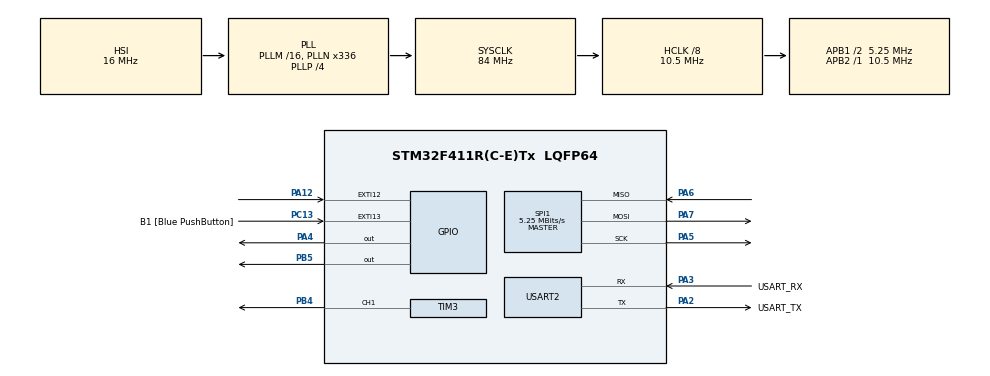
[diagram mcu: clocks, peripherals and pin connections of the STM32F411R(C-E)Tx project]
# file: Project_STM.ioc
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Mcu.Family=STM32F4
Mcu.Name=STM32F411R(C-E)Tx
Mcu.Package=LQFP64
NVIC.PriorityGroup=NVIC_PRIORITYGROUP_0
NVIC.TIM3_IRQn=true\:0\:0\:false\:false\:true\:true\:true\:true
PA12.Signal=GPXTI12
PA13.GPIO_Label=TMS
PA13.Mode=Serial_Wire
PA13.Signal=SYS_JTMS-SWDIO
PA14.GPIO_Label=TCK
PA14.Mode=Serial_Wire
PA14.Signal=SYS_JTCK-SWCLK
PA2.GPIO_Label=USART_TX
PA2.Mode=Asynchronous
PA2.Signal=USART2_TX
PA3.GPIO_Label=USART_RX
PA3.Mode=Asynchronous
PA3.Signal=USART2_RX
PA4.Signal=GPIO_Output
PA5.Mode=Full_Duplex_Master
PA5.Signal=SPI1_SCK
PA6.Mode=Full_Duplex_Master
PA6.Signal=SPI1_MISO
PA7.Mode=Full_Duplex_Master
PA7.Signal=SPI1_MOSI
PB3.GPIO_Label=SWO
PB3.Signal=SYS_JTDO-SWO
PB4.Signal=S_TIM3_CH1
PB5.Signal=GPIO_Output
PC13-ANTI_TAMP.GPIO_Label=B1 [Blue PushButton]
PC13-ANTI_TAMP.GPIO_ModeDefaultEXTI=GPIO_MODE_IT_FALLING
PC13-ANTI_TAMP.Signal=GPXTI13
PC14-OSC32_IN.Mode=LSE-External-Oscillator
PC14-OSC32_IN.Signal=RCC_OSC32_IN
PC15-OSC32_OUT.Mode=LSE-External-Oscillator
PC15-OSC32_OUT.Signal=RCC_OSC32_OUT
PH0\ -\ OSC_IN.Mode=HSE-External-Clock-Source
PH0\ -\ OSC_IN.Signal=RCC_OSC_IN
PH1\ -\ OSC_OUT.Mode=HSE-External-Clock-Source
PH1\ -\ OSC_OUT.Signal=RCC_OSC_OUT
ProjectManager.HeapSize=0x200
ProjectManager.StackSize=0x400
ProjectManager.TargetToolchain=STM32CubeIDE
RCC.48MHZClocksFreq_Value=84000000
RCC.AHBCLKDivider=RCC_SYSCLK_DIV8
RCC.AHBFreq_Value=10500000
RCC.APB1CLKDivider=RCC_HCLK_DIV2
RCC.APB1Freq_Value=5250000
RCC.APB1TimFreq_Value=10500000
RCC.APB2Freq_Value=10500000
RCC.APB2TimFreq_Value=10500000
RCC.CortexFreq_Value=10500000
RCC.FLatency-AdvancedSettings=FLASH_LATENCY_0
RCC.HCLKFreq_Value=10500000
RCC.HSE_VALUE=8000000
RCC.HSI_VALUE=16000000
RCC.PLLN=336
RCC.PLLP=RCC_PLLP_DIV4
RCC.SYSCLKFreq_VALUE=84000000
RCC.SYSCLKSource=RCC_SYSCLKSOURCE_PLLCLK
RCC.VCOOutputFreq_Value=336000000
SH.S_TIM3_CH1.0=TIM3_CH1,PWM Generation1 CH1
SPI1.BaudRatePrescaler=SPI_BAUDRATEPRESCALER_2
SPI1.CalculateBaudRate=5.25 MBits/s
SPI1.Direction=SPI_DIRECTION_2LINES
SPI1.Mode=SPI_MODE_MASTER
SPI1.VirtualType=VM_MASTER
TIM3.Channel-PWM\ Generation1\ CH1=TIM_CHANNEL_1
TIM3.Period=1000
TIM3.Prescaler=100
TIM3.Pulse-PWM\ Generation1\ CH1=50
USART2.VirtualMode=VM_ASYNC
board=NUCLEO-F411RE

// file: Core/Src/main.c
/* USER CODE BEGIN Header */
/**
  ******************************************************************************
  * @file           : main.c
  * @brief          : Main program body
  ******************************************************************************
  * @attention
  *
  * Copyright (c) 2025 STMicroelectronics.
  * All rights reserved.
  *
  * This software is licensed under terms that can be found in the LICENSE file
  * in the root directory of this software component.
  * If no LICENSE file comes with this software, it is provided AS-IS.
  *
  ******************************************************************************
  */
/* USER CODE END Header */
#include "main.h"

/* USER CODE BEGIN Includes */
#include <stdio.h>
#include <string.h>
/* USER CODE END Includes */

/* USER CODE BEGIN PTD */
SPI_HandleTypeDef hspi1;
#define MCP2515_CS_PORT GPIOA
#define MCP2515_CS_PIN  GPIO_PIN_4
#define MCP2515_CS_LOW() HAL_GPIO_WritePin(MCP2515_CS_PORT, MCP2515_CS_PIN, GPIO_PIN_RESET)
#define MCP2515_CS_HIGH() HAL_GPIO_WritePin(MCP2515_CS_PORT, MCP2515_CS_PIN, GPIO_PIN_SET)
/* USER CODE END PTD */

SPI_HandleTypeDef hspi1;

TIM_HandleTypeDef htim3;

UART_HandleTypeDef huart2;

void SystemClock_Config(void);
static void MX_GPIO_Init(void);
static void MX_USART2_UART_Init(void);
static void MX_SPI1_Init(void);
static void MX_TIM3_Init(void);

int main(void)
{

  /* MCU Configuration--------------------------------------------------------*/

  /* Reset of all peripherals, Initializes the Flash interface and the Systick. */
  HAL_Init();

  /* Configure the system clock */
  SystemClock_Config();

  /* Initialize all configured peripherals */
  MX_GPIO_Init();
  MX_USART2_UART_Init();
  MX_SPI1_Init();
  MX_TIM3_Init();
  /* USER CODE BEGIN 2 */
  mcp2515_init();

  char start[] = "start\r\n";
  HAL_UART_Transmit(&huart2, (uint8_t*)start, strlen(start), 100);
  /* USER CODE END 2 */

  /* Infinite loop */
  while (1)
  {

    /* USER CODE BEGIN 3 */
	  /*부저파트
	// 부저 ON
	__HAL_TIM_SET_COMPARE(&htim3, TIM_CHANNEL_1, 500); // 듀티비 50%
	HAL_Delay(1000);
	// 부저 OFF
	__HAL_TIM_SET_COMPARE(&htim3, TIM_CHANNEL_1, 0);  // 듀티비 0%
	HAL_Delay(1000);
	*/
	mcp2515_receive_message(); // 수신 테스트
	//HAL_Delay(2000);
	//mcp2515_send_message(); // 송신테스트
	//HAL_Delay(2000);
  }
  /* USER CODE END 3 */
}

void SystemClock_Config(void)
{
  RCC_OscInitTypeDef RCC_OscInitStruct = {0};
  RCC_ClkInitTypeDef RCC_ClkInitStruct = {0};

  /** Configure the main internal regulator output voltage
  */
  __HAL_RCC_PWR_CLK_ENABLE();
  __HAL_PWR_VOLTAGESCALING_CONFIG(PWR_REGULATOR_VOLTAGE_SCALE1);

  /** Initializes the RCC Oscillators according to the specified parameters
  * in the RCC_OscInitTypeDef structure.
  */
  RCC_OscInitStruct.OscillatorType = RCC_OSCILLATORTYPE_HSI;
  RCC_OscInitStruct.HSIState = RCC_HSI_ON;
  RCC_OscInitStruct.HSICalibrationValue = RCC_HSICALIBRATION_DEFAULT;
  RCC_OscInitStruct.PLL.PLLState = RCC_PLL_ON;
  RCC_OscInitStruct.PLL.PLLSource = RCC_PLLSOURCE_HSI;
  RCC_OscInitStruct.PLL.PLLM = 16;
  RCC_OscInitStruct.PLL.PLLN = 336;
  RCC_OscInitStruct.PLL.PLLP = RCC_PLLP_DIV4;
  RCC_OscInitStruct.PLL.PLLQ = 4;
  if (HAL_RCC_OscConfig(&RCC_OscInitStruct) != HAL_OK)
  {
    Error_Handler();
  }

  /** Initializes the CPU, AHB and APB buses clocks
  */
  RCC_ClkInitStruct.ClockType = RCC_CLOCKTYPE_HCLK|RCC_CLOCKTYPE_SYSCLK
                              |RCC_CLOCKTYPE_PCLK1|RCC_CLOCKTYPE_PCLK2;
  RCC_ClkInitStruct.SYSCLKSource = RCC_SYSCLKSOURCE_PLLCLK;
  RCC_ClkInitStruct.AHBCLKDivider = RCC_SYSCLK_DIV8;
  RCC_ClkInitStruct.APB1CLKDivider = RCC_HCLK_DIV2;
  RCC_ClkInitStruct.APB2CLKDivider = RCC_HCLK_DIV1;

  if (HAL_RCC_ClockConfig(&RCC_ClkInitStruct, FLASH_LATENCY_0) != HAL_OK)
  {
    Error_Handler();
  }
}

static void MX_SPI1_Init(void)
{

  /* SPI1 parameter configuration*/
  hspi1.Instance = SPI1;
  hspi1.Init.Mode = SPI_MODE_MASTER;
  hspi1.Init.Direction = SPI_DIRECTION_2LINES;
  hspi1.Init.DataSize = SPI_DATASIZE_8BIT;
  hspi1.Init.CLKPolarity = SPI_POLARITY_LOW;
  hspi1.Init.CLKPhase = SPI_PHASE_1EDGE;
  hspi1.Init.NSS = SPI_NSS_SOFT;
  hspi1.Init.BaudRatePrescaler = SPI_BAUDRATEPRESCALER_2;
  hspi1.Init.FirstBit = SPI_FIRSTBIT_MSB;
  hspi1.Init.TIMode = SPI_TIMODE_DISABLE;
  hspi1.Init.CRCCalculation = SPI_CRCCALCULATION_DISABLE;
  hspi1.Init.CRCPolynomial = 10;
  if (HAL_SPI_Init(&hspi1) != HAL_OK)
  {
    Error_Handler();
  }

}

static void MX_TIM3_Init(void)
{

  TIM_MasterConfigTypeDef sMasterConfig = {0};
  TIM_OC_InitTypeDef sConfigOC = {0};

  htim3.Instance = TIM3;
  htim3.Init.Prescaler = 159;
  htim3.Init.CounterMode = TIM_COUNTERMODE_UP;
  htim3.Init.Period = 1000;
  htim3.Init.ClockDivision = TIM_CLOCKDIVISION_DIV1;
  htim3.Init.AutoReloadPreload = TIM_AUTORELOAD_PRELOAD_DISABLE;
  if (HAL_TIM_PWM_Init(&htim3) != HAL_OK)
  {
    Error_Handler();
  }
  sMasterConfig.MasterOutputTrigger = TIM_TRGO_RESET;
  sMasterConfig.MasterSlaveMode = TIM_MASTERSLAVEMODE_DISABLE;
  if (HAL_TIMEx_MasterConfigSynchronization(&htim3, &sMasterConfig) != HAL_OK)
  {
    Error_Handler();
  }
  sConfigOC.OCMode = TIM_OCMODE_PWM1;
  sConfigOC.Pulse = 50;
  sConfigOC.OCPolarity = TIM_OCPOLARITY_HIGH;
  sConfigOC.OCFastMode = TIM_OCFAST_DISABLE;
  if (HAL_TIM_PWM_ConfigChannel(&htim3, &sConfigOC, TIM_CHANNEL_1) != HAL_OK)
  {
    Error_Handler();
  }
  HAL_TIM_MspPostInit(&htim3);

}

static void MX_USART2_UART_Init(void)
{

  huart2.Instance = USART2;
  huart2.Init.BaudRate = 115200;
  huart2.Init.WordLength = UART_WORDLENGTH_8B;
  huart2.Init.StopBits = UART_STOPBITS_1;
  huart2.Init.Parity = UART_PARITY_NONE;
  huart2.Init.Mode = UART_MODE_TX_RX;
  huart2.Init.HwFlowCtl = UART_HWCONTROL_NONE;
  huart2.Init.OverSampling = UART_OVERSAMPLING_16;
  if (HAL_UART_Init(&huart2) != HAL_OK)
  {
    Error_Handler();
  }

}

static void MX_GPIO_Init(void)
{
  GPIO_InitTypeDef GPIO_InitStruct = {0};

  /* GPIO Ports Clock Enable */
  // GPIOB 클럭 활성화
  RCC->AHB1ENR |= RCC_AHB1ENR_GPIOBEN;

  __HAL_RCC_GPIOC_CLK_ENABLE();
  __HAL_RCC_GPIOH_CLK_ENABLE();
  __HAL_RCC_GPIOA_CLK_ENABLE();
  __HAL_RCC_GPIOB_CLK_ENABLE();

  /*Configure GPIO pin Output Level */
  HAL_GPIO_WritePin(GPIOA, GPIO_PIN_4, GPIO_PIN_RESET);

  /*Configure GPIO pin : B1_Pin */
  GPIO_InitStruct.Pin = B1_Pin;
  GPIO_InitStruct.Mode = GPIO_MODE_IT_FALLING;
  GPIO_InitStruct.Pull = GPIO_NOPULL;
  HAL_GPIO_Init(B1_GPIO_Port, &GPIO_InitStruct);

  /*Configure GPIO pin : PA4 */
  GPIO_InitStruct.Pin = GPIO_PIN_4;
  GPIO_InitStruct.Mode = GPIO_MODE_OUTPUT_PP;
  GPIO_InitStruct.Pull = GPIO_NOPULL;
  GPIO_InitStruct.Speed = GPIO_SPEED_FREQ_LOW;
  HAL_GPIO_Init(GPIOA, &GPIO_InitStruct);

  /*Configure GPIO pin : PA12 */
  GPIO_InitStruct.Pin = GPIO_PIN_12;
  GPIO_InitStruct.Mode = GPIO_MODE_IT_RISING;
  GPIO_InitStruct.Pull = GPIO_NOPULL;
  HAL_GPIO_Init(GPIOA, &GPIO_InitStruct);

  // PB5를 출력으로 설정 (MODER 레지스터: 2비트당 1핀)
  GPIOB->MODER &= ~(0b11 << (5 * 2));  // 초기화
  GPIOB->MODER |=  (0b01 << (5 * 2));  // 01: General purpose output

  // 출력 타입 설정 (푸시풀)
  GPIOB->OTYPER &= ~(1 << 5);  // 0: Push-pull

  // 출력 속도 설정 (선택사항: High speed로 설정 가능)
  GPIOB->OSPEEDR |= (0b11 << (5 * 2));  // 11: High speed

  // 풀업/다운 설정 안 함 (No pull-up, pull-down)
  GPIOB->PUPDR &= ~(0b11 << (5 * 2));

}

/* USER CODE BEGIN 4 */

//SPI 송수신 함수
uint8_t SPI_WriteRead(uint8_t data)
{
	uint8_t received = 0;
		HAL_SPI_TransmitReceive(&hspi1, &data, &received, 1, HAL_MAX_DELAY);
		return received;
}

//MCP2515 레지스터 쓰기/읽기 함수(CAN 모듈)
void mcp2515_write_register(uint8_t address, uint8_t data)
{
	MCP2515_CS_LOW(); //SPI 슬레이브 시작
	SPI_WriteRead(0x02); //Write 명령
	SPI_WriteRead(address); // 쓰고 싶은 MCP2515 내부 주소
	SPI_WriteRead(data); //그 주소에 쓸 데이터
	MCP2515_CS_HIGH(); //SPI 종료
}

uint8_t mcp2515_read_register(uint8_t address)
{
	uint8_t value;
	MCP2515_CS_LOW();
	SPI_WriteRead(0x03); // Read command
	HAL_Delay(1); // ← 추가
	SPI_WriteRead(address);
	HAL_Delay(1); // ← 추가
	value = SPI_WriteRead(0x00);
	MCP2515_CS_HIGH();
	return value;
}

/************CP2515 초기화 함수****************/
void mcp2515_reset()
{
	MCP2515_CS_LOW();
	SPI_WriteRead(0xC0); //Reset command
	MCP2515_CS_HIGH();
	HAL_Delay(10); //리셋 후 안정을 위해 대기
}

void mcp2515_init()
{
	mcp2515_reset();

	//CNF1, CNF2, CNF3 설정 500kbps 기준 (8Mhz 기준)
	mcp2515_write_register(0x2A, 0x00);  // CNF1: SJW = 1, BRP = 0
	mcp2515_write_register(0x29, 0x91);  // CNF2: BTLMODE=1, PHSEG1=2, PRSEG=1
	mcp2515_write_register(0x28, 0x01);  // CNF3: PHSEG2=3

	// Normal Mode 진입
	mcp2515_write_register(0x0F, 0x00); // CANCTRL register -> Normal mode
	HAL_Delay(10);
	uint8_t mode = mcp2515_read_register(0x0E) & 0xE0; // CANSTAT 상위 3비트로 현재 모드 확인
	if (mode != 0x00)
	{
		char err[] = "MCP2515 NOT in Normal Mode\r\n";
		HAL_UART_Transmit(&huart2, (uint8_t*)err, strlen(err), 100);
	}
	// 필터/마스크 초기화
	mcp2515_write_register(0x00, 0x00); // RXM0SIDH
	mcp2515_write_register(0x01, 0x00); // RXM0SIDL
	mcp2515_write_register(0x04, 0x00); // RXM1SIDH
	mcp2515_write_register(0x05, 0x00); // RXM1SIDL

	// 필터 무시 모드 설정
	mcp2515_write_register(0x60, 0x64);  // RXB0CTRL: RXM=11, BUKT=1
	mcp2515_write_register(0x70, 0x60);  // RXB1CTRL: RXM=11

}
/******************************************/

/***************CAN 송신 함수***************/
void mcp2515_send_message()
{
	// ID: 0x123
	uint16_t id = 0x123;
    uint8_t sidh = (id >> 3) & 0xFF;
    uint8_t sidl = (id & 0x07) << 5;
    sidl &= ~(1 << 3); // IDE 비트 반드시 0으로!

	mcp2515_write_register(0x30, sidh); // TXB0SIDH
	mcp2515_write_register(0x31, sidl); // TXB0SIDL

	// DLC(data length code): 4바이트
	mcp2515_write_register(0x35, 0x04); // TXBODLC

	// Data payload: 0xDE, 0xAD, 0xBE, 0xEF
	mcp2515_write_register(0x36, 0xDE);
	mcp2515_write_register(0x37, 0xAD);
	mcp2515_write_register(0x38, 0xBE);
	mcp2515_write_register(0x39, 0xEF);

	// 전송 요청 전 CANINTF의 TX0IF 플래그 클리어
	mcp2515_write_register(0x2C, 0x00);

	// 요청 전송
	MCP2515_CS_LOW();
	SPI_WriteRead(0x81); // RTS TXB0
	MCP2515_CS_HIGH();

	// 전송 성공 확인
	HAL_Delay(1); // 아주 짧은 시간 대기(TX처리 시간)
	uint8_t canintf = mcp2515_read_register(0x2C);
	if(canintf & (0x04 | 0x02 | 0x01)) // TX0IF bit
	{
		char msg[] = "CAN TX Done\r\n";
		HAL_UART_Transmit(&huart2, (uint8_t*)msg, strlen(msg), 100);
	}
	else
	{
		char err[] = "TX Failed\r\n";
		HAL_UART_Transmit(&huart2, (uint8_t*)err, strlen(err), 100);
	}

}
/******************************************/

/***************CAN 수신 함수***************/
void mcp2515_receive_message()
{

	uint8_t canintf = mcp2515_read_register(0x2C);
		uint8_t rxb_addr;
		if (canintf & 0x01) rxb_addr = 0x61;
		else if (canintf & 0x02) rxb_addr = 0x71;
		else return;

		uint8_t sidH = mcp2515_read_register(rxb_addr);       // SIDH
		uint8_t sidL = mcp2515_read_register(rxb_addr + 1);   // SIDL
		uint8_t eid8 = mcp2515_read_register(rxb_addr + 2);   // EID8
		uint8_t eid0 = mcp2515_read_register(rxb_addr + 3);   // EID0
		uint8_t dlc  = mcp2515_read_register(rxb_addr + 4) & 0x0F;

		uint8_t ide = (sidL >> 3) & 0x01;
		uint32_t id;
		if (ide == 0) {
		    // 표준 ID
		    id = ((sidH << 3) | (sidL >> 5)) & 0x7FF;
		} else {
		    // 확장 ID
		    id = ((uint32_t)(sidH) << 21)
		       | ((uint32_t)(sidL & 0xE0) << 13)
		       | ((uint32_t)(sidL & 0x03) << 16)
		       | ((uint32_t)(eid8) << 8)
		       | (eid0);
		}
		uint8_t data[8] = {0};
		for (int i = 0; i < dlc; i++) {
			data[i] = mcp2515_read_register(rxb_addr + 5 + i);
		}

		if(id == 0x123 && (data[0] == 0x01 || data[0] == 0x02))
		{
			HAL_UART_Transmit(&huart2, (uint8_t*)"BUZZER ON!\r\n", 12, 100);
			// 부저 PWM 시작
			HAL_TIM_PWM_Start(&htim3, TIM_CHANNEL_1);
			__HAL_TIM_SET_COMPARE(&htim3, TIM_CHANNEL_1, 50); // 듀티비 5%
			GPIOB->ODR |= (1 << 5);
			HAL_Delay(100);
			// 부저 OFF
			GPIOB->ODR &= ~(1 << 5);
			__HAL_TIM_SET_COMPARE(&htim3, TIM_CHANNEL_1, 0);
			HAL_GPIO_WritePin(GPIOB, GPIO_PIN_5, GPIO_PIN_RESET);
		}

		// 출력
		char buf[128];
		int offset = 0;
		offset += sprintf(buf + offset, "CAN RX ID=0x%08X, DLC=%d, Data=", id, dlc);
		for (int i = 0; i < dlc; i++) {
		    offset += sprintf(buf + offset, "%02X ", data[i]);
		}
		offset += sprintf(buf + offset, "\r\n");
		HAL_UART_Transmit(&huart2, (uint8_t*)buf, offset, 100);

		sprintf(buf, "SIDH = 0x%02X, SIDL = 0x%02X, EID8 = 0x%02X, EID0 = 0x%02X, DLC = %d\r\n",
		        sidH, sidL, eid8, eid0, dlc);
		HAL_UART_Transmit(&huart2, (uint8_t*)buf, strlen(buf), 100);

		sprintf(buf, "CAN RX ID = 0x%08X, Data = ", id);
		HAL_UART_Transmit(&huart2, (uint8_t*)buf, strlen(buf), 100);

		for (int i = 0; i < dlc; i++) {
			sprintf(buf, "%02X ", data[i]);
			HAL_UART_Transmit(&huart2, (uint8_t*)buf, strlen(buf), 100);
		}
		HAL_UART_Transmit(&huart2, (uint8_t*)"\r\n", 2, 100);

		// 클리어
		mcp2515_write_register(0x2C, canintf & ~(0x03));
}
/******************************************/
/* USER CODE END 4 */

void Error_Handler(void)
{
  __disable_irq();
  while (1)
  {
  }
}
